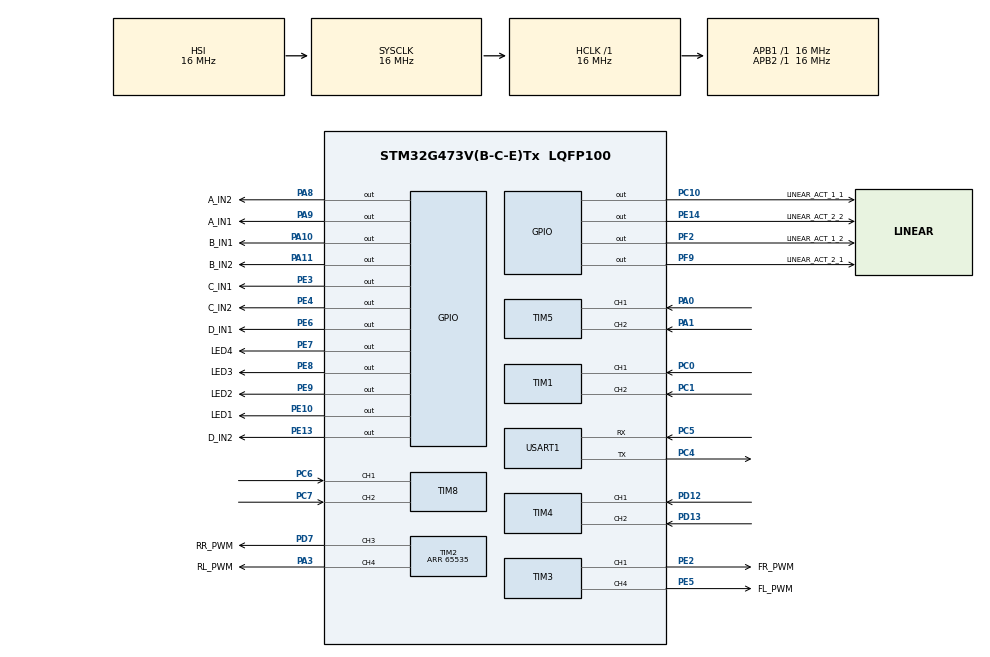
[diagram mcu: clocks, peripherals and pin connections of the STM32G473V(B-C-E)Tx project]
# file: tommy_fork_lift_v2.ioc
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Mcu.Family=STM32G4
Mcu.Name=STM32G473V(B-C-E)Tx
Mcu.Package=LQFP100
NVIC.PriorityGroup=NVIC_PRIORITYGROUP_4
PA0.Signal=S_TIM5_CH1
PA1.Signal=S_TIM5_CH2
PA10.GPIO_Label=B_IN1
PA10.GPIO_Speed=GPIO_SPEED_FREQ_LOW
PA10.Signal=GPIO_Output
PA11.GPIO_Label=B_IN2
PA11.GPIO_Speed=GPIO_SPEED_FREQ_LOW
PA11.Signal=GPIO_Output
PA13.Mode=Serial_Wire
PA13.Signal=SYS_JTMS-SWDIO
PA14.Mode=Serial_Wire
PA14.Signal=SYS_JTCK-SWCLK
PA3.GPIO_Label=RL_PWM
PA3.Signal=S_TIM2_CH4
PA8.GPIO_Label=A_IN2
PA8.GPIO_Speed=GPIO_SPEED_FREQ_LOW
PA8.Signal=GPIO_Output
PA9.GPIO_Label=A_IN1
PA9.GPIO_Speed=GPIO_SPEED_FREQ_LOW
PA9.Signal=GPIO_Output
PC0.Signal=S_TIM1_CH1
PC1.Signal=S_TIM1_CH2
PC10.GPIO_Label=LINEAR_ACT_1_1
PC10.Signal=GPIO_Output
PC14-OSC32_IN.Mode=LSE-External-Oscillator
PC14-OSC32_IN.Signal=RCC_OSC32_IN
PC15-OSC32_OUT.Mode=LSE-External-Oscillator
PC15-OSC32_OUT.Signal=RCC_OSC32_OUT
PC4.Mode=Asynchronous
PC4.Signal=USART1_TX
PC5.Mode=Asynchronous
PC5.Signal=USART1_RX
PC6.Signal=S_TIM8_CH1
PC7.Signal=S_TIM8_CH2
PD12.Signal=S_TIM4_CH1
PD13.Signal=S_TIM4_CH2
PD7.GPIO_Label=RR_PWM
PD7.Signal=S_TIM2_CH3
PE10.GPIO_Label=LED1
PE10.Signal=GPIO_Output
PE13.GPIO_Label=D_IN2
PE13.Signal=GPIO_Output
PE14.GPIO_Label=LINEAR_ACT_2_2
PE14.Signal=GPIO_Output
PE2.GPIO_Label=FR_PWM
PE2.Signal=S_TIM3_CH1
PE3.GPIO_Label=C_IN1
PE3.Signal=GPIO_Output
PE4.GPIO_Label=C_IN2
PE4.Signal=GPIO_Output
PE5.GPIO_Label=FL_PWM
PE5.Signal=S_TIM3_CH4
PE6.GPIO_Label=D_IN1
PE6.Signal=GPIO_Output
PE7.GPIO_Label=LED4
PE7.Signal=GPIO_Output
PE8.GPIO_Label=LED3
PE8.Signal=GPIO_Output
PE9.GPIO_Label=LED2
PE9.Signal=GPIO_Output
PF0-OSC_IN.Mode=HSE-External-Oscillator
PF0-OSC_IN.Signal=RCC_OSC_IN
PF1-OSC_OUT.Mode=HSE-External-Oscillator
PF1-OSC_OUT.Signal=RCC_OSC_OUT
PF2.GPIO_Label=LINEAR_ACT_1_2
PF2.Signal=GPIO_Output
PF9.GPIO_Label=LINEAR_ACT_2_1
PF9.Signal=GPIO_Output
ProjectManager.HeapSize=0x200
ProjectManager.StackSize=0x400
ProjectManager.TargetToolchain=STM32CubeIDE
RCC.AHBFreq_Value=16000000
RCC.APB1Freq_Value=16000000
RCC.APB1TimFreq_Value=16000000
RCC.APB2Freq_Value=16000000
RCC.APB2TimFreq_Value=16000000
RCC.CortexFreq_Value=16000000
RCC.EXTERNAL_CLOCK_VALUE=12288000
RCC.HCLKFreq_Value=16000000
RCC.HSE_VALUE=8000000
RCC.HSI48_VALUE=48000000
RCC.HSI_VALUE=16000000
RCC.SYSCLKFreq_VALUE=16000000
RCC.USBFreq_Value=64000000
RCC.VCOOutputFreq_Value=128000000
SH.S_TIM1_CH1.0=TIM1_CH1,Encoder_Interface
SH.S_TIM1_CH2.0=TIM1_CH2,Encoder_Interface
SH.S_TIM2_CH3.0=TIM2_CH3,PWM Generation3 CH3
SH.S_TIM2_CH4.0=TIM2_CH4,PWM Generation4 CH4
SH.S_TIM3_CH1.0=TIM3_CH1,PWM Generation1 CH1
SH.S_TIM3_CH4.0=TIM3_CH4,PWM Generation4 CH4
SH.S_TIM4_CH1.0=TIM4_CH1,Encoder_Interface
SH.S_TIM4_CH2.0=TIM4_CH2,Encoder_Interface
SH.S_TIM5_CH1.0=TIM5_CH1,Encoder_Interface
SH.S_TIM5_CH2.0=TIM5_CH2,Encoder_Interface
SH.S_TIM8_CH1.0=TIM8_CH1,Encoder_Interface
SH.S_TIM8_CH2.0=TIM8_CH2,Encoder_Interface
TIM2.AutoReloadPreload=TIM_AUTORELOAD_PRELOAD_ENABLE
TIM2.Channel-PWM\ Generation3\ CH3=TIM_CHANNEL_3
TIM2.Channel-PWM\ Generation4\ CH4=TIM_CHANNEL_4
TIM2.PeriodNoDither=65535
TIM3.AutoReloadPreload=TIM_AUTORELOAD_PRELOAD_ENABLE
TIM3.Channel-PWM\ Generation1\ CH1=TIM_CHANNEL_1
TIM3.Channel-PWM\ Generation4\ CH4=TIM_CHANNEL_4
USART1.VirtualMode-Asynchronous=VM_ASYNC
VP_SYS_VS_DBSignals.Mode=DisableDeadBatterySignals
board=custom

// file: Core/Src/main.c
/* USER CODE BEGIN Header */
/**
 ******************************************************************************
 * @file           : main.c
 * @brief          : Main program body
 ******************************************************************************
 * @attention
 *
 * Copyright (c) 2025 STMicroelectronics.
 * All rights reserved.
 *
 * This software is licensed under terms that can be found in the LICENSE file
 * in the root directory of this software component.
 * If no LICENSE file comes with this software, it is provided AS-IS.
 *
 ******************************************************************************
 */
/* USER CODE END Header */
#include "main.h"
#include "tim.h"
#include "usart.h"
#include "gpio.h"

/* USER CODE BEGIN Includes */
#include "controller.h"
#include "encoder.h"
#include "mech.h"
#include "movement.h"
#include "robot.h"

/* USER CODE END Includes */

/* USER CODE BEGIN PD */
#define TEST 1

/* USER CODE END PD */

/* USER CODE BEGIN PV */
BaseVelocity test_base_vel = {0, 0, 0};
int test_time_stamp = 0;
WheelVelocity test_wheel_vel = {0, 0, 0, 0};
WheelPWM test_wheel_pwm = {0, 0, 0, 0};
int test_var[10] = {0, 0, 0, 0, 0, 0, 0, 0, 0, 0};
/* USER CODE END PV */

void SystemClock_Config(void);

int main(void)
{

  /* MCU Configuration--------------------------------------------------------*/

  /* Reset of all peripherals, Initializes the Flash interface and the Systick. */
  HAL_Init();

  /* Configure the system clock */
  SystemClock_Config();

  /* Initialize all configured peripherals */
  MX_GPIO_Init();
  MX_TIM3_Init();
  MX_TIM1_Init();
  MX_TIM2_Init();
  MX_TIM4_Init();
  MX_TIM5_Init();
  MX_TIM8_Init();
  MX_USART1_UART_Init();
  /* USER CODE BEGIN 2 */
  HAL_TIM_PWM_Start(&htim2, TIM_CHANNEL_3);
  HAL_TIM_PWM_Start(&htim2, TIM_CHANNEL_4);
  HAL_TIM_PWM_Start(&htim3, TIM_CHANNEL_1);
  HAL_TIM_PWM_Start(&htim3, TIM_CHANNEL_4);

  HAL_TIM_Base_Start_IT(&htim1);
  HAL_TIM_Encoder_Start_IT(&htim1, TIM_CHANNEL_ALL);
  HAL_TIM_Base_Start_IT(&htim4);
  HAL_TIM_Encoder_Start_IT(&htim4, TIM_CHANNEL_ALL);
  HAL_TIM_Base_Start_IT(&htim5);
  HAL_TIM_Encoder_Start_IT(&htim5, TIM_CHANNEL_ALL);
  HAL_TIM_Base_Start_IT(&htim8);
  HAL_TIM_Encoder_Start_IT(&htim8, TIM_CHANNEL_ALL);

  HAL_GPIO_WritePin(C_IN1_GPIO_Port, C_IN1_Pin, GPIO_PIN_RESET);
  HAL_GPIO_WritePin(C_IN2_GPIO_Port, C_IN2_Pin, GPIO_PIN_RESET);
  HAL_GPIO_WritePin(B_IN1_GPIO_Port, B_IN1_Pin, GPIO_PIN_RESET);
  HAL_GPIO_WritePin(B_IN2_GPIO_Port, B_IN2_Pin, GPIO_PIN_RESET);
  HAL_GPIO_WritePin(D_IN1_GPIO_Port, D_IN1_Pin, GPIO_PIN_RESET);
  HAL_GPIO_WritePin(D_IN2_GPIO_Port, D_IN2_Pin, GPIO_PIN_RESET);
  HAL_GPIO_WritePin(A_IN1_GPIO_Port, A_IN1_Pin, GPIO_PIN_RESET);
  HAL_GPIO_WritePin(A_IN2_GPIO_Port, A_IN2_Pin, GPIO_PIN_RESET);

  HAL_GPIO_WritePin(LED1_GPIO_Port, LED1_Pin, GPIO_PIN_SET);
  HAL_GPIO_WritePin(LED2_GPIO_Port, LED2_Pin, GPIO_PIN_SET);
  HAL_GPIO_WritePin(LED3_GPIO_Port, LED3_Pin, GPIO_PIN_SET);
  HAL_GPIO_WritePin(LED4_GPIO_Port, LED4_Pin, GPIO_PIN_SET);

  // linear_actuator_extend(&(linear_actuator[0]));
  // linear_actuator_extend(&(linear_actuator[1]));
  // linear_actuator_retract(&(linear_actuator[0]));
  // linear_actuator_retract(&(linear_actuator[1]));
  HAL_GPIO_WritePin(LINEAR_ACT_1_1_GPIO_Port, LINEAR_ACT_1_1_Pin, GPIO_PIN_RESET);
  HAL_GPIO_WritePin(LINEAR_ACT_1_2_GPIO_Port, LINEAR_ACT_1_2_Pin, GPIO_PIN_SET);
  HAL_GPIO_WritePin(LINEAR_ACT_2_1_GPIO_Port, LINEAR_ACT_2_1_Pin, GPIO_PIN_RESET);
  HAL_GPIO_WritePin(LINEAR_ACT_2_2_GPIO_Port, LINEAR_ACT_2_2_Pin, GPIO_PIN_SET);

  /* USER CODE END 2 */

  /* Infinite loop */
  while (1) {

    /* USER CODE BEGIN 3 */
    HAL_Delay(1);
#if (TEST == 1)
    if (HAL_GetTick() - test_time_stamp >= 5000) {
      test_time_stamp = HAL_GetTick();
      HAL_GPIO_TogglePin(LINEAR_ACT_1_1_GPIO_Port, LINEAR_ACT_1_1_Pin);
      HAL_GPIO_TogglePin(LINEAR_ACT_1_2_GPIO_Port, LINEAR_ACT_1_2_Pin);
      HAL_GPIO_TogglePin(LINEAR_ACT_2_1_GPIO_Port, LINEAR_ACT_2_1_Pin);
      HAL_GPIO_TogglePin(LINEAR_ACT_2_2_GPIO_Port, LINEAR_ACT_2_2_Pin);
    }
    // test encoder
    // read_current_velocity(encoders);

    // test motor
    // HAL_GPIO_WritePin(C_IN1_GPIO_Port, C_IN1_Pin, GPIO_PIN_SET);
    // HAL_GPIO_WritePin(C_IN2_GPIO_Port, C_IN2_Pin, GPIO_PIN_RESET);
    // HAL_GPIO_WritePin(B_IN1_GPIO_Port, B_IN1_Pin, GPIO_PIN_SET);
    // HAL_GPIO_WritePin(B_IN2_GPIO_Port, B_IN2_Pin, GPIO_PIN_RESET);
    // HAL_GPIO_WritePin(D_IN1_GPIO_Port, D_IN1_Pin, GPIO_PIN_SET);
    // HAL_GPIO_WritePin(D_IN2_GPIO_Port, D_IN2_Pin, GPIO_PIN_RESET);
    // HAL_GPIO_WritePin(A_IN1_GPIO_Port, A_IN1_Pin, GPIO_PIN_SET);
    // HAL_GPIO_WritePin(A_IN2_GPIO_Port, A_IN2_Pin, GPIO_PIN_RESET);
    // TIM2->CCR3 = 65535 / 2;
    // TIM2->CCR4 = 65535 / 2;
    // TIM3->CCR1 = 65535 / 2;
    // TIM3->CCR4 = 65535 / 2;
    // FL_MOTOR_CCR = 13106;
    // FR_MOTOR_CCR = 13106;
    // RL_MOTOR_CCR = 13106;
    // RR_MOTOR_CCR = 13106;

    // overall movement
    test_base_vel.x_vel = 0;
    test_base_vel.y_vel = ROBOT_MAX_X_VELOCITY * 0.5;
    test_base_vel.z_vel = 0;
    movement_control(test_base_vel);

    // remote controller
    // HAL_UART_Transmit(&huart1, controller_buffer, sizeof(controller_buffer), HAL_MAX_DELAY);
    // parse_controller_data(controller_buffer, &controller_state);
    // if (controller_state.options_button && !prev_turn_on) {
    //   turn_on = !turn_on;
    //   HAL_GPIO_WritePin(LED1_GPIO_Port, LED1_Pin, turn_on ? GPIO_PIN_SET : GPIO_PIN_RESET);
    // }
    // prev_turn_on = controller_state.options_button;

    // test linear actuator
    // HAL_GPIO_WritePin(LINEAR_ACT_1_Pin, LINEAR_ACT_1_GPIO_Port, GPIO_PIN_SET);
    // HAL_GPIO_WritePin(LINEAR_ACT_2_Pin, LINEAR_ACT_2_GPIO_Port, GPIO_PIN_SET);
#else

#endif
  }
  /* USER CODE END 3 */
}

void SystemClock_Config(void)
{
  RCC_OscInitTypeDef RCC_OscInitStruct = {0};
  RCC_ClkInitTypeDef RCC_ClkInitStruct = {0};

  /** Configure the main internal regulator output voltage
  */
  HAL_PWREx_ControlVoltageScaling(PWR_REGULATOR_VOLTAGE_SCALE1);

  /** Initializes the RCC Oscillators according to the specified parameters
  * in the RCC_OscInitTypeDef structure.
  */
  RCC_OscInitStruct.OscillatorType = RCC_OSCILLATORTYPE_HSI;
  RCC_OscInitStruct.HSIState = RCC_HSI_ON;
  RCC_OscInitStruct.HSICalibrationValue = RCC_HSICALIBRATION_DEFAULT;
  RCC_OscInitStruct.PLL.PLLState = RCC_PLL_NONE;
  if (HAL_RCC_OscConfig(&RCC_OscInitStruct) != HAL_OK)
  {
    Error_Handler();
  }

  /** Initializes the CPU, AHB and APB buses clocks
  */
  RCC_ClkInitStruct.ClockType = RCC_CLOCKTYPE_HCLK|RCC_CLOCKTYPE_SYSCLK
                              |RCC_CLOCKTYPE_PCLK1|RCC_CLOCKTYPE_PCLK2;
  RCC_ClkInitStruct.SYSCLKSource = RCC_SYSCLKSOURCE_HSI;
  RCC_ClkInitStruct.AHBCLKDivider = RCC_SYSCLK_DIV1;
  RCC_ClkInitStruct.APB1CLKDivider = RCC_HCLK_DIV1;
  RCC_ClkInitStruct.APB2CLKDivider = RCC_HCLK_DIV1;

  if (HAL_RCC_ClockConfig(&RCC_ClkInitStruct, FLASH_LATENCY_0) != HAL_OK)
  {
    Error_Handler();
  }
}

void Error_Handler(void)
{
  __disable_irq();
  while (1) {
  }
}
